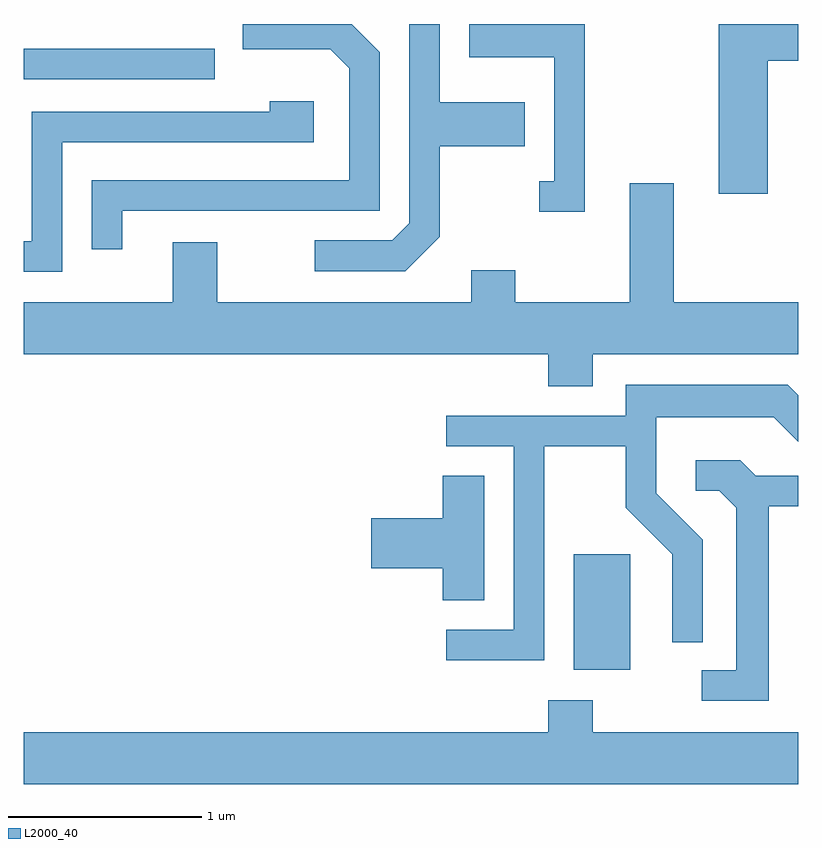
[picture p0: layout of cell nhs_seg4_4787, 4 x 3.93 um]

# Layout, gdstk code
import gdstk
lib = gdstk.Library(unit=1e-6, precision=1e-09)
def R(c, l, rs):  # rectangles x0, y0, x1, y1
    for r in rs: c.add(gdstk.rectangle(r[:2], r[2:], *l))
def P(c, l, *ps):  # polygons
    for p in ps: c.add(gdstk.Polygon(p, *l))
L2000_40 = (2000, 40)

nhs_seg4_4787 = lib.new_cell('nhs_seg4_4787')
R(nhs_seg4_4787, L2000_40, [(328.451,1308.646,328.744,1309.244), (325.611,1311.696,326.598,1311.854)])
P(nhs_seg4_4787, L2000_40, [(328.509,1311.982),(327.911,1311.982),(327.911,1311.811),(328.351,1311.811),(328.351,1311.169),(328.273,1311.169),(328.273,1311.011),(328.509,1311.011)],
  [(327.759,1310.884),(327.759,1311.351),(328.199,1311.351),(328.199,1311.579),(327.759,1311.579),(327.759,1311.982),(327.601,1311.982),(327.601,1310.952),(327.514,1310.864),(327.113,1310.864),(327.113,1310.706),(327.582,1310.706)],
  [(329.454,1311.791),(329.611,1311.791),(329.611,1311.982),(329.201,1311.982),(329.201,1311.106),(329.454,1311.106)],
  [(326.119,1311.016),(327.449,1311.016),(327.449,1311.837),(327.304,1311.982),(326.741,1311.982),(326.741,1311.851),(327.194,1311.851),(327.291,1311.754),(327.291,1311.174),(325.961,1311.174),(325.961,1310.818),(326.119,1310.818)],
  [(325.809,1311.371),(327.109,1311.371),(327.109,1311.584),(326.881,1311.584),(326.881,1311.529),(325.651,1311.529),(325.651,1310.859),(325.611,1310.859),(325.611,1310.701),(325.809,1310.701)],
  [(328.549,1310.276),(329.611,1310.276),(329.611,1310.544),(328.969,1310.544),(328.969,1311.159),(328.741,1311.159),(328.741,1310.544),(328.149,1310.544),(328.149,1310.709),(327.921,1310.709),(327.921,1310.544),(326.609,1310.544),(326.609,1310.854),(326.381,1310.854),(326.381,1310.544),(325.611,1310.544),(325.611,1310.276),(328.321,1310.276),(328.321,1310.111),(328.549,1310.111)],
  [(328.299,1309.801),(328.721,1309.801),(328.721,1309.484),(328.961,1309.244),(328.961,1308.788),(329.119,1308.788),(329.119,1309.317),(328.879,1309.557),(328.879,1309.951),(329.484,1309.951),(329.611,1309.824),(329.611,1310.065),(329.557,1310.119),(328.721,1310.119),(328.721,1309.959),(327.793,1309.959),(327.793,1309.801),(328.141,1309.801),(328.141,1308.854),(327.793,1308.854),(327.793,1308.696),(328.299,1308.696)],
  [(329.459,1309.491),(329.611,1309.491),(329.611,1309.649),(329.392,1309.649),(329.312,1309.729),(329.083,1309.729),(329.083,1309.571),(329.204,1309.571),(329.291,1309.484),(329.291,1308.644),(329.113,1308.644),(329.113,1308.486),(329.459,1308.486)],
  [(327.989,1309.649),(327.776,1309.649),(327.776,1309.429),(327.406,1309.429),(327.406,1309.171),(327.776,1309.171),(327.776,1309.006),(327.989,1309.006)],
  [(329.611,1308.324),(328.549,1308.324),(328.549,1308.489),(328.321,1308.489),(328.321,1308.324),(325.611,1308.324),(325.611,1308.056),(329.611,1308.056)])

lib.write_gds('nhs_seg4_4787.gds')
